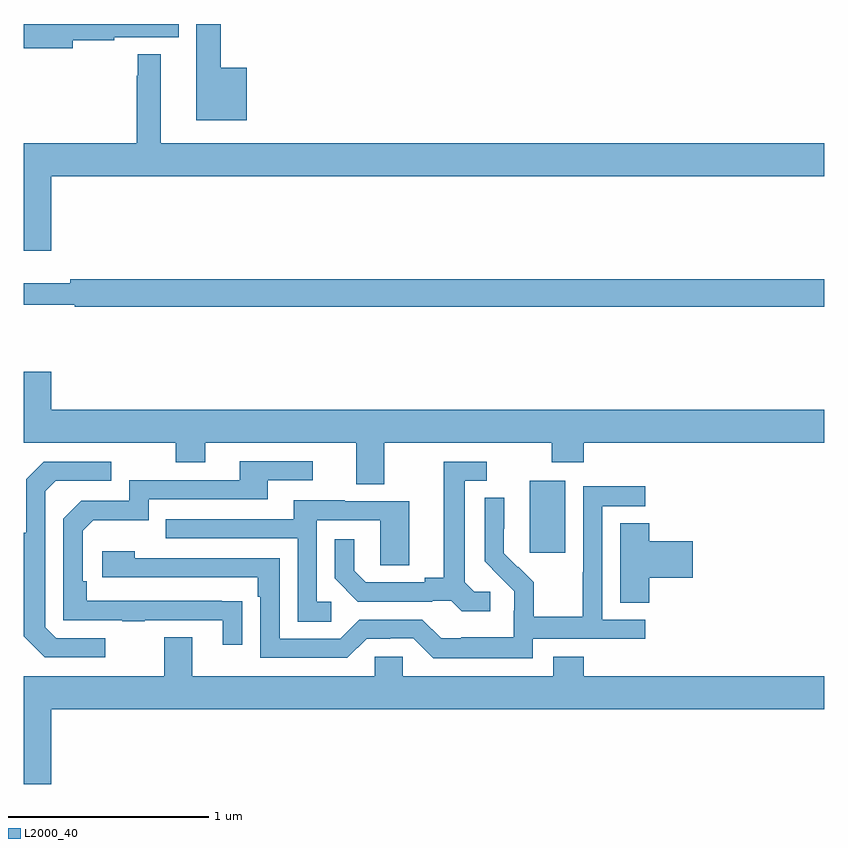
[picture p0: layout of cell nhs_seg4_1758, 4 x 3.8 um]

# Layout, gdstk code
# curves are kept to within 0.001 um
import gdstk
lib = gdstk.Library(unit=1e-6, precision=1e-09)
def R(c, l, rs):  # rectangles x0, y0, x1, y1
    for r in rs: c.add(gdstk.rectangle(r[:2], r[2:], *l))
def P(c, l, *ps):  # polygons
    for p in ps: c.add(gdstk.Polygon(p, *l))
L2000_40 = (2000, 40)

nhs_seg4_1758 = lib.new_cell('nhs_seg4_1758')
R(nhs_seg4_1758, L2000_40, [(203.528,808.257,203.707,808.618)])
P(nhs_seg4_1758, L2000_40, [(201.244,810.82),(201.452,810.82),(201.452,810.833),(201.775,810.833),(201.775,810.9),(201,810.9),(201,810.778),(201.244,810.778)],
  [(202.114,810.682),(201.985,810.682),(201.985,810.9),(201.863,810.9),(201.863,810.419),(202.114,810.419)],
  [(201.136,810.14),(205,810.14),(205,810.304),(201.685,810.304),(201.685,810.748),(201.57,810.748),(201.57,810.641),(201.564,810.641),(201.564,810.304),(201,810.304),(201,809.766),(201.136,809.766)],
  [(205,809.624),(201.232,809.624),(201.232,809.605),(201,809.605),(201,809.496),(201.255,809.496),(201.255,809.488),(205,809.488)],
  [(202.801,808.808),(203.638,808.808),(203.638,808.709),(203.798,808.709),(203.798,808.808),(205,808.808),(205,808.972),(201.136,808.972),(201.136,809.161),(201,809.161),(201,808.808),(201.76,808.808),(201.76,808.709),(201.907,808.709),(201.907,808.808),(202.661,808.808),(202.661,808.6),(202.801,808.6)],
  [(202.091,808.016),(201.314,808.017),(201.314,808.114),(201.294,808.114),(201.294,808.368),(201.347,808.421),(201.624,808.421),(201.624,808.524),(202.219,808.524),(202.219,808.62),(202.444,808.62),(202.444,808.716),(202.079,808.716),(202.079,808.62),(201.528,808.62),(201.528,808.518),(201.288,808.518),(201.198,808.428),(201.198,807.921),(201.493,807.921),(201.493,807.916),(201.605,807.916),(201.605,807.921),(201.995,807.921),(201.995,807.798),(202.091,807.798)],
  [(203.332,808.062),(203.25,808.062),(203.203,808.109),(203.203,808.617),(203.314,808.617),(203.314,808.713),(203.099,808.713),(203.099,808.133),(203.003,808.133),(203.003,808.11),(202.708,808.11),(202.651,808.167),(202.651,808.324),(202.554,808.324),(202.554,808.13),(202.67,808.014),(203.042,808.014),(203.042,808.017),(203.136,808.017),(203.188,807.965),(203.332,807.965)],
  [(201.406,807.831),(201.162,807.831),(201.108,807.885),(201.108,808.566),(201.159,808.617),(201.436,808.617),(201.436,808.713),(201.099,808.713),(201.012,808.626),(201.012,808.357),(201,808.357),(201,807.841),(201.105,807.735),(201.406,807.735)],
  [(203.544,807.828),(204.106,807.828),(204.106,807.924),(203.892,807.924),(203.892,808.491),(204.106,808.491),(204.106,808.59),(203.796,808.59),(203.796,808.16),(203.794,808.16),(203.794,807.937),(203.549,807.937),(203.549,808.111),(203.472,808.188),(203.469,808.185),(203.399,808.256),(203.4,808.532),(203.304,808.532),(203.304,808.214),(203.45,808.066),(203.45,807.969),(203.448,807.969),(203.448,807.835),(203.185,807.835),(203.185,807.831),(203.085,807.831),(202.992,807.924),(202.677,807.924),(202.581,807.828),(202.278,807.828),(202.278,808.23),(201.554,808.23),(201.554,808.264),(201.393,808.264),(201.393,808.134),(202.169,808.134),(202.169,808.037),(202.182,808.037),(202.182,807.732),(202.617,807.732),(202.713,807.828),(202.832,807.828),(202.832,807.831),(202.947,807.831),(203.047,807.731),(203.544,807.731)],
  [(202.537,808.014),(202.464,808.014),(202.464,808.419),(202.782,808.419),(202.782,808.195),(202.927,808.195),(202.927,808.515),(202.603,808.515),(202.603,808.519),(202.349,808.519),(202.349,808.425),(201.709,808.425),(201.709,808.329),(202.368,808.329),(202.368,807.913),(202.537,807.913)],
  [(204.125,808.133),(204.343,808.133),(204.343,808.316),(204.125,808.316),(204.125,808.406),(203.981,808.406),(203.981,808.009),(204.125,808.009)],
  [(205,807.64),(203.798,807.64),(203.798,807.739),(203.645,807.739),(203.645,807.64),(202.893,807.64),(202.893,807.738),(202.755,807.738),(202.755,807.64),(201.841,807.64),(201.841,807.835),(201.701,807.835),(201.701,807.64),(201,807.64),(201,807.102),(201.136,807.102),(201.136,807.476),(205,807.476)])

lib.write_gds('nhs_seg4_1758.gds')
